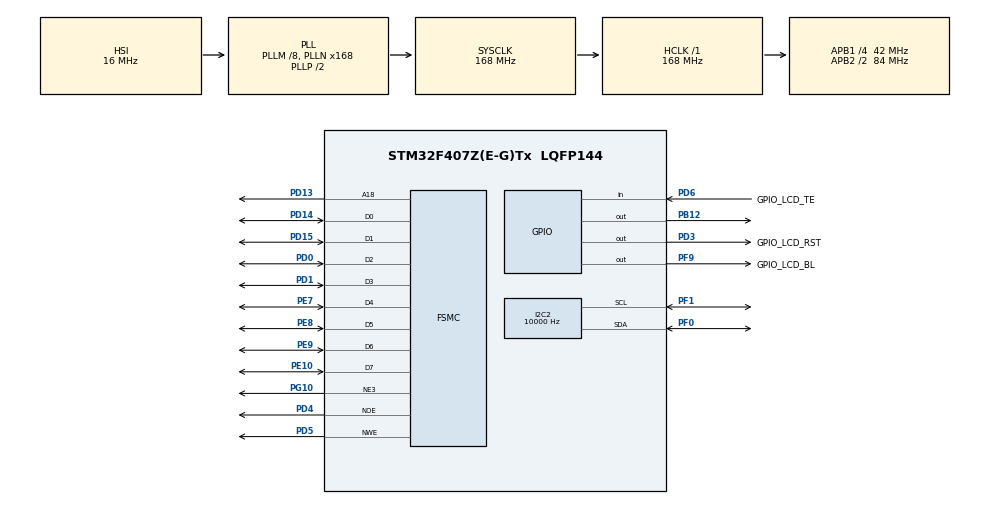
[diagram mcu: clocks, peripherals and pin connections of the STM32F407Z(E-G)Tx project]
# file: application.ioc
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FSMC.BusTurnAroundDuration3=0
FSMC.DataSetupTime3=60
FSMC.ExtendedAddressSetupTime3=9
FSMC.ExtendedBusTurnAroundDuration3=0
FSMC.ExtendedDataSetupTime3=8
FSMC.ExtendedMode3=FSMC_EXTENDED_MODE_ENABLE
I2C2.ClockSpeed=10000
Mcu.Family=STM32F4
Mcu.Name=STM32F407Z(E-G)Tx
Mcu.Package=LQFP144
NVIC.PriorityGroup=NVIC_PRIORITYGROUP_4
PA13.Mode=Serial_Wire
PA13.Signal=SYS_JTMS-SWDIO
PA14.Mode=Serial_Wire
PA14.Signal=SYS_JTCK-SWCLK
PB12.GPIO_ModeDefaultOutputPP=GPIO_MODE_OUTPUT_PP
PB12.GPIO_Speed=GPIO_SPEED_FREQ_HIGH
PB12.PinState=GPIO_PIN_SET
PB12.Signal=GPIO_Output
PC14-OSC32_IN.Mode=LSE-External-Oscillator
PC14-OSC32_IN.Signal=RCC_OSC32_IN
PC15-OSC32_OUT.Mode=LSE-External-Oscillator
PC15-OSC32_OUT.Signal=RCC_OSC32_OUT
PD0.Signal=FSMC_D2_DA2
PD1.Signal=FSMC_D3_DA3
PD13.Signal=FSMC_A18
PD14.Signal=FSMC_D0_DA0
PD15.Signal=FSMC_D1_DA1
PD3.GPIO_Label=GPIO_LCD_RST
PD3.Signal=GPIO_Output
PD4.Signal=FSMC_NOE
PD5.Signal=FSMC_NWE
PD6.GPIO_Label=GPIO_LCD_TE
PD6.Signal=GPIO_Input
PE10.Signal=FSMC_D7_DA7
PE7.Signal=FSMC_D4_DA4
PE8.Signal=FSMC_D5_DA5
PE9.Signal=FSMC_D6_DA6
PF0.Mode=I2C
PF0.Signal=I2C2_SDA
PF1.Mode=I2C
PF1.Signal=I2C2_SCL
PF9.GPIO_Label=GPIO_LCD_BL
PF9.Signal=GPIO_Output
PG10.Mode=NorPsramChipSelect3_3
PG10.Signal=FSMC_NE3
PH0-OSC_IN.Mode=HSE-External-Oscillator
PH0-OSC_IN.Signal=RCC_OSC_IN
PH1-OSC_OUT.Mode=HSE-External-Oscillator
PH1-OSC_OUT.Signal=RCC_OSC_OUT
ProjectManager.HeapSize=0x2000
ProjectManager.StackSize=0x1200
ProjectManager.TargetToolchain=CMake
RCC.48MHZClocksFreq_Value=84000000
RCC.AHBFreq_Value=168000000
RCC.APB1CLKDivider=RCC_HCLK_DIV4
RCC.APB1Freq_Value=42000000
RCC.APB1TimFreq_Value=84000000
RCC.APB2CLKDivider=RCC_HCLK_DIV2
RCC.APB2Freq_Value=84000000
RCC.APB2TimFreq_Value=168000000
RCC.CortexFreq_Value=168000000
RCC.HCLKFreq_Value=168000000
RCC.HSE_VALUE=8000000
RCC.HSI_VALUE=16000000
RCC.PLLM=8
RCC.PLLN=168
RCC.SYSCLKFreq_VALUE=168000000
RCC.SYSCLKSource=RCC_SYSCLKSOURCE_PLLCLK
RCC.VCOOutputFreq_Value=336000000
SH.FSMC_A18.0=FSMC_A18,A18_3
SH.FSMC_D0_DA0.0=FSMC_D0,8b-d3
SH.FSMC_D1_DA1.0=FSMC_D1,8b-d3
SH.FSMC_D2_DA2.0=FSMC_D2,8b-d3
SH.FSMC_D3_DA3.0=FSMC_D3,8b-d3
SH.FSMC_D4_DA4.0=FSMC_D4,8b-d3
SH.FSMC_D5_DA5.0=FSMC_D5,8b-d3
SH.FSMC_D6_DA6.0=FSMC_D6,8b-d3
SH.FSMC_D7_DA7.0=FSMC_D7,8b-d3
SH.FSMC_NOE.0=FSMC_NOE,Lcd3
SH.FSMC_NWE.0=FSMC_NWE,Lcd3
TIM2.AutoReloadPreload=TIM_AUTORELOAD_PRELOAD_ENABLE
TIM2.Period=\ 0xFFFFFFFF
TIM2.Prescaler=83
VP_TIM2_VS_ClockSourceINT.Mode=Internal
board=custom

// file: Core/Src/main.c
/* USER CODE BEGIN Header */
/**
 ******************************************************************************
 * @file           : main.c
 * @brief          : Main program body
 ******************************************************************************
 * @attention
 *
 * Copyright (c) 2025 STMicroelectronics.
 * All rights reserved.
 *
 * This software is licensed under terms that can be found in the LICENSE file
 * in the root directory of this software component.
 * If no LICENSE file comes with this software, it is provided AS-IS.
 *
 ******************************************************************************
 */
/* USER CODE END Header */
#include "main.h"

/* USER CODE BEGIN Includes */

#include "ap3216.h"
#include "lvgl.h"
#include "src/lv_port_disp.h"
#include "stm32f4xx_hal.h"
#include <stdint.h>
/* USER CODE END Includes */

I2C_HandleTypeDef hi2c2;

TIM_HandleTypeDef htim2;

SRAM_HandleTypeDef hsram3;

void SystemClock_Config(void);
static void MX_GPIO_Init(void);
static void MX_FSMC_Init(void);
static void MX_I2C2_Init(void);
static void MX_TIM2_Init(void);

int main(void) {

  /* MCU Configuration--------------------------------------------------------*/

  /* Reset of all peripherals, Initializes the Flash interface and the Systick.
   */
  HAL_Init();

  /* Configure the system clock */
  SystemClock_Config();

  /* Initialize all configured peripherals */
  MX_GPIO_Init();
  MX_FSMC_Init();
  MX_I2C2_Init();
  MX_TIM2_Init();
  /* USER CODE BEGIN 2 */
  lv_init();

  lv_port_disp_init();
  AP3216_Init();
  lv_obj_t *label = lv_label_create(lv_scr_act());
  lv_obj_align(label, LV_ALIGN_CENTER, 0, 0);
  /* USER CODE END 2 */

  /* Infinite loop */
  /* USER CODE BEGIN WHILE */
  while (1) {

    uint16_t alsdata = AP3216_Read_ALS_Data();
    uint16_t irdata = AP3216_Read_IR_Data();

    lv_label_set_text_fmt(label, "als:%3.1flux\nir:%5u", alsdata * 0.35,
                          irdata);
    lv_task_handler();
    HAL_Delay(5);
    /* USER CODE END WHILE */

  }
}

void SystemClock_Config(void) {
  RCC_OscInitTypeDef RCC_OscInitStruct = {0};
  RCC_ClkInitTypeDef RCC_ClkInitStruct = {0};

  /** Configure the main internal regulator output voltage
   */
  __HAL_RCC_PWR_CLK_ENABLE();
  __HAL_PWR_VOLTAGESCALING_CONFIG(PWR_REGULATOR_VOLTAGE_SCALE1);

  /** Initializes the RCC Oscillators according to the specified parameters
   * in the RCC_OscInitTypeDef structure.
   */
  RCC_OscInitStruct.OscillatorType = RCC_OSCILLATORTYPE_HSI;
  RCC_OscInitStruct.HSIState = RCC_HSI_ON;
  RCC_OscInitStruct.HSICalibrationValue = RCC_HSICALIBRATION_DEFAULT;
  RCC_OscInitStruct.PLL.PLLState = RCC_PLL_ON;
  RCC_OscInitStruct.PLL.PLLSource = RCC_PLLSOURCE_HSI;
  RCC_OscInitStruct.PLL.PLLM = 8;
  RCC_OscInitStruct.PLL.PLLN = 168;
  RCC_OscInitStruct.PLL.PLLP = RCC_PLLP_DIV2;
  RCC_OscInitStruct.PLL.PLLQ = 4;
  if (HAL_RCC_OscConfig(&RCC_OscInitStruct) != HAL_OK) {
    Error_Handler();
  }

  /** Initializes the CPU, AHB and APB buses clocks
   */
  RCC_ClkInitStruct.ClockType = RCC_CLOCKTYPE_HCLK | RCC_CLOCKTYPE_SYSCLK |
                                RCC_CLOCKTYPE_PCLK1 | RCC_CLOCKTYPE_PCLK2;
  RCC_ClkInitStruct.SYSCLKSource = RCC_SYSCLKSOURCE_PLLCLK;
  RCC_ClkInitStruct.AHBCLKDivider = RCC_SYSCLK_DIV1;
  RCC_ClkInitStruct.APB1CLKDivider = RCC_HCLK_DIV4;
  RCC_ClkInitStruct.APB2CLKDivider = RCC_HCLK_DIV2;

  if (HAL_RCC_ClockConfig(&RCC_ClkInitStruct, FLASH_LATENCY_5) != HAL_OK) {
    Error_Handler();
  }
}

static void MX_I2C2_Init(void) {

  hi2c2.Instance = I2C2;
  hi2c2.Init.ClockSpeed = 10000;
  hi2c2.Init.DutyCycle = I2C_DUTYCYCLE_2;
  hi2c2.Init.OwnAddress1 = 0;
  hi2c2.Init.AddressingMode = I2C_ADDRESSINGMODE_7BIT;
  hi2c2.Init.DualAddressMode = I2C_DUALADDRESS_DISABLE;
  hi2c2.Init.OwnAddress2 = 0;
  hi2c2.Init.GeneralCallMode = I2C_GENERALCALL_DISABLE;
  hi2c2.Init.NoStretchMode = I2C_NOSTRETCH_DISABLE;
  if (HAL_I2C_Init(&hi2c2) != HAL_OK) {
    Error_Handler();
  }
}

static void MX_TIM2_Init(void) {

  TIM_ClockConfigTypeDef sClockSourceConfig = {0};
  TIM_MasterConfigTypeDef sMasterConfig = {0};

  htim2.Instance = TIM2;
  htim2.Init.Prescaler = 83;
  htim2.Init.CounterMode = TIM_COUNTERMODE_UP;
  htim2.Init.Period = 0xFFFFFFFF;
  htim2.Init.ClockDivision = TIM_CLOCKDIVISION_DIV1;
  htim2.Init.AutoReloadPreload = TIM_AUTORELOAD_PRELOAD_ENABLE;
  if (HAL_TIM_Base_Init(&htim2) != HAL_OK) {
    Error_Handler();
  }
  sClockSourceConfig.ClockSource = TIM_CLOCKSOURCE_INTERNAL;
  if (HAL_TIM_ConfigClockSource(&htim2, &sClockSourceConfig) != HAL_OK) {
    Error_Handler();
  }
  sMasterConfig.MasterOutputTrigger = TIM_TRGO_RESET;
  sMasterConfig.MasterSlaveMode = TIM_MASTERSLAVEMODE_DISABLE;
  if (HAL_TIMEx_MasterConfigSynchronization(&htim2, &sMasterConfig) != HAL_OK) {
    Error_Handler();
  }
}

static void MX_GPIO_Init(void) {
  GPIO_InitTypeDef GPIO_InitStruct = {0};

  /* GPIO Ports Clock Enable */
  __HAL_RCC_GPIOC_CLK_ENABLE();
  __HAL_RCC_GPIOF_CLK_ENABLE();
  __HAL_RCC_GPIOH_CLK_ENABLE();
  __HAL_RCC_GPIOE_CLK_ENABLE();
  __HAL_RCC_GPIOB_CLK_ENABLE();
  __HAL_RCC_GPIOD_CLK_ENABLE();
  __HAL_RCC_GPIOA_CLK_ENABLE();
  __HAL_RCC_GPIOG_CLK_ENABLE();

  /*Configure GPIO pin Output Level */
  HAL_GPIO_WritePin(GPIO_LCD_BL_GPIO_Port, GPIO_LCD_BL_Pin, GPIO_PIN_RESET);

  /*Configure GPIO pin Output Level */
  HAL_GPIO_WritePin(GPIOB, GPIO_PIN_12, GPIO_PIN_SET);

  /*Configure GPIO pin Output Level */
  HAL_GPIO_WritePin(GPIO_LCD_RST_GPIO_Port, GPIO_LCD_RST_Pin, GPIO_PIN_RESET);

  /*Configure GPIO pin : GPIO_LCD_BL_Pin */
  GPIO_InitStruct.Pin = GPIO_LCD_BL_Pin;
  GPIO_InitStruct.Mode = GPIO_MODE_OUTPUT_PP;
  GPIO_InitStruct.Pull = GPIO_NOPULL;
  GPIO_InitStruct.Speed = GPIO_SPEED_FREQ_LOW;
  HAL_GPIO_Init(GPIO_LCD_BL_GPIO_Port, &GPIO_InitStruct);

  /*Configure GPIO pin : PB12 */
  GPIO_InitStruct.Pin = GPIO_PIN_12;
  GPIO_InitStruct.Mode = GPIO_MODE_OUTPUT_PP;
  GPIO_InitStruct.Pull = GPIO_NOPULL;
  GPIO_InitStruct.Speed = GPIO_SPEED_FREQ_HIGH;
  HAL_GPIO_Init(GPIOB, &GPIO_InitStruct);

  /*Configure GPIO pin : GPIO_LCD_RST_Pin */
  GPIO_InitStruct.Pin = GPIO_LCD_RST_Pin;
  GPIO_InitStruct.Mode = GPIO_MODE_OUTPUT_PP;
  GPIO_InitStruct.Pull = GPIO_NOPULL;
  GPIO_InitStruct.Speed = GPIO_SPEED_FREQ_LOW;
  HAL_GPIO_Init(GPIO_LCD_RST_GPIO_Port, &GPIO_InitStruct);

  /*Configure GPIO pin : GPIO_LCD_TE_Pin */
  GPIO_InitStruct.Pin = GPIO_LCD_TE_Pin;
  GPIO_InitStruct.Mode = GPIO_MODE_INPUT;
  GPIO_InitStruct.Pull = GPIO_NOPULL;
  HAL_GPIO_Init(GPIO_LCD_TE_GPIO_Port, &GPIO_InitStruct);

}

/* FSMC initialization function */
static void MX_FSMC_Init(void) {

  FSMC_NORSRAM_TimingTypeDef Timing = {0};
  FSMC_NORSRAM_TimingTypeDef ExtTiming = {0};

  /** Perform the SRAM3 memory initialization sequence
   */
  hsram3.Instance = FSMC_NORSRAM_DEVICE;
  hsram3.Extended = FSMC_NORSRAM_EXTENDED_DEVICE;
  /* hsram3.Init */
  hsram3.Init.NSBank = FSMC_NORSRAM_BANK3;
  hsram3.Init.DataAddressMux = FSMC_DATA_ADDRESS_MUX_DISABLE;
  hsram3.Init.MemoryType = FSMC_MEMORY_TYPE_SRAM;
  hsram3.Init.MemoryDataWidth = FSMC_NORSRAM_MEM_BUS_WIDTH_8;
  hsram3.Init.BurstAccessMode = FSMC_BURST_ACCESS_MODE_DISABLE;
  hsram3.Init.WaitSignalPolarity = FSMC_WAIT_SIGNAL_POLARITY_LOW;
  hsram3.Init.WrapMode = FSMC_WRAP_MODE_DISABLE;
  hsram3.Init.WaitSignalActive = FSMC_WAIT_TIMING_BEFORE_WS;
  hsram3.Init.WriteOperation = FSMC_WRITE_OPERATION_ENABLE;
  hsram3.Init.WaitSignal = FSMC_WAIT_SIGNAL_DISABLE;
  hsram3.Init.ExtendedMode = FSMC_EXTENDED_MODE_ENABLE;
  hsram3.Init.AsynchronousWait = FSMC_ASYNCHRONOUS_WAIT_DISABLE;
  hsram3.Init.WriteBurst = FSMC_WRITE_BURST_DISABLE;
  hsram3.Init.PageSize = FSMC_PAGE_SIZE_NONE;
  /* Timing */
  Timing.AddressSetupTime = 15;
  Timing.AddressHoldTime = 15;
  Timing.DataSetupTime = 60;
  Timing.BusTurnAroundDuration = 0;
  Timing.CLKDivision = 16;
  Timing.DataLatency = 17;
  Timing.AccessMode = FSMC_ACCESS_MODE_A;
  /* ExtTiming */
  ExtTiming.AddressSetupTime = 9;
  ExtTiming.AddressHoldTime = 15;
  ExtTiming.DataSetupTime = 8;
  ExtTiming.BusTurnAroundDuration = 0;
  ExtTiming.CLKDivision = 16;
  ExtTiming.DataLatency = 17;
  ExtTiming.AccessMode = FSMC_ACCESS_MODE_A;

  if (HAL_SRAM_Init(&hsram3, &Timing, &ExtTiming) != HAL_OK) {
    Error_Handler();
  }

}

void Error_Handler(void) {
  __disable_irq();
  while (1) {
  }
}

#ifdef USE_FULL_ASSERT
/**
 * @brief  Reports the name of the source file and the source line number
 *         where the assert_param error has occurred.
 * @param  file: pointer to the source file name
 * @param  line: assert_param error line source number
 * @retval None
 */
void assert_failed(uint8_t *file, uint32_t line) {
  /* USER CODE BEGIN 6 */
  /* User can add his own implementation to report the file name and line
     number, ex: printf("Wrong parameters value: file %s on line %d\r\n", file,
     line) */
  /* USER CODE END 6 */
}
#endif /* USE_FULL_ASSERT */
